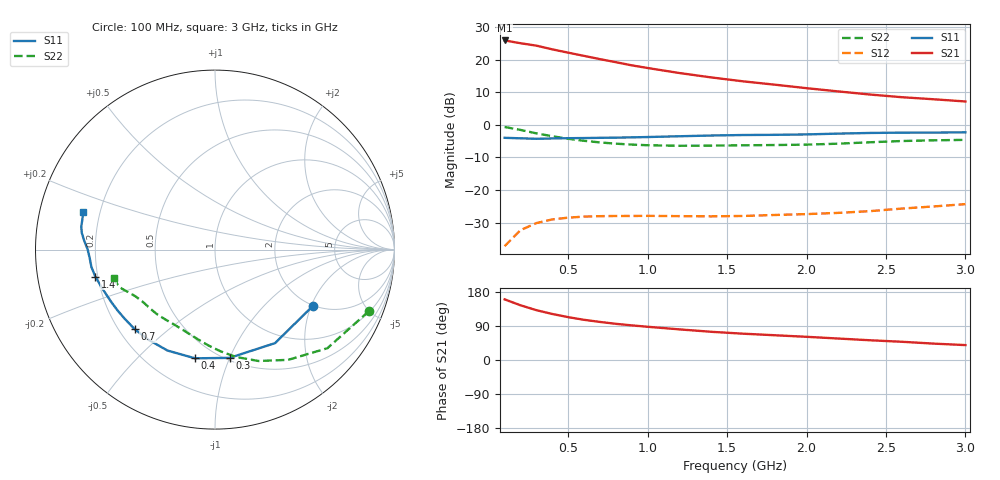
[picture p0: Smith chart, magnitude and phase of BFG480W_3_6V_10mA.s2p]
! Filename: 3_610BFG480.001
! Title: BFG480W
! Bias: Vce=3.6V; Ic=10mA
! Company: Philips Semiconductors NL
! User: Quality&Reliability T&D
! Measure time: 10 Nov 1999 / 11:59:12
#  MHz  S  MA  R 50
! Freq  S11  S21  S12  S22  :
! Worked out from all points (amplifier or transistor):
!   20 points, 100 MHz to 3 GHz, reference 50 ohm
!   highest |S21| = 25.9 dB at 100 MHz (marker M1)
!   |S21| within 3 dB of that: start of sweep to 426.4 MHz
!   unconditionally stable (mu >= 1): 1.682 GHz to end of sweep
!   at 400 MHz: K = 0.24, MSG = 26.1 dB, |S12| = -29.1 dB
!   at 1.2 GHz: K = 0.73, MSG = 22.0 dB, |S12| = -28.0 dB
!   at 3 GHz: K = 1.16, MAG = 13.4 dB, |S12| = -24.4 dB
!   S11 on the Smith chart (normalised r, x): 100 MHz: 2.00, -2.07; 300 MHz: 0.52, -1.00; 400 MHz: 0.39, -0.76; 700 MHz: 0.26, -0.39; 1.4 GHz: 0.19, -0.11; 3 GHz: 0.14, +0.14
100  0.6301 -29.7  19.63 160.1  0.0137 69.1  0.9229 -21.9
200  0.6191 -57.3  17.81 144.4  0.02414 56.9  0.833 -41.3
300  0.6087 -82.3  16.35 131.5  0.03098 47.6  0.7372 -56.4
400  0.6158 -100.4  14.33 121.4  0.03524 40.6  0.6661 -68.7
500  0.6216 -115.2  12.75 113.1  0.03756 35.8  0.6091 -79.0
600  0.6247 -126.8  11.39 106.0  0.03893 32.7  0.5665 -87.1
700  0.6299 -135.4  10.15 100.4  0.03956 30.6  0.5355 -93.9
800  0.6337 -142.6  9.114 95.5  0.03979 29.5  0.5122 -99.8
900  0.64 -148.0  8.151 91.4  0.03985 29.3  0.496 -105.0
1000  0.6475 -153.2  7.418 87.7  0.03996 29.5  0.4846 -110.1
1200  0.6655 -161.4  6.212 80.8  0.03961 30.8  0.4754 -118.9
1400  0.6832 -167.3  5.322 74.4  0.03929 33.5  0.4781 -126.2
1600  0.6953 -171.9  4.635 69.5  0.03984 37.8  0.4836 -132.0
1800  0.7 -176.3  4.117 65.3  0.04125 42.8  0.4882 -137.6
2000  0.7101 179.8  3.637 61.2  0.04254 47.9  0.495 -143.4
2200  0.7308 176.0  3.245 56.6  0.04442 52.0  0.5123 -149.2
2400  0.748 172.9  2.906 52.1  0.04726 55.7  0.5383 -153.9
2600  0.756 170.2  2.644 48.1  0.05172 59.0  0.5625 -157.2
2800  0.7578 167.3  2.459 43.2  0.05577 60.8  0.5765 -160.3
3000  0.7642 164.0  2.275 39.3  0.0605 62.7  0.586 -164.2
